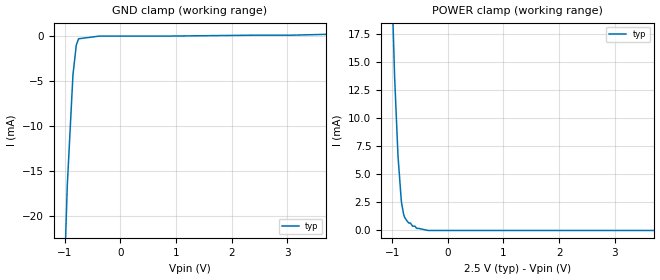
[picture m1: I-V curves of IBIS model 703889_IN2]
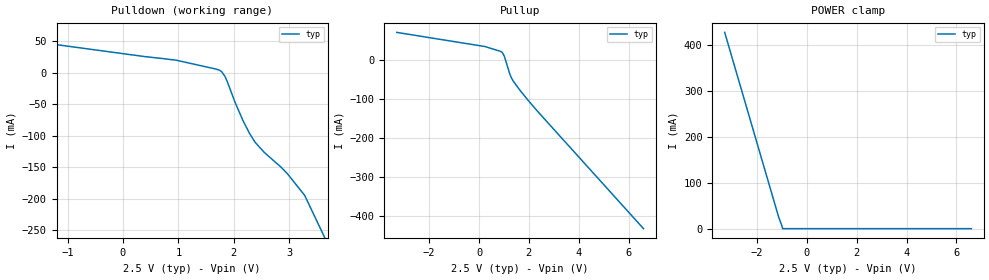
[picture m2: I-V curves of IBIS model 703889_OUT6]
| YOU ARE ONLY AUTHORIZED TO USE THIS SOFTWARE
| ACCORDING TO LICENSOR'S LICENSE RESTRICTIONS.
[IBIS Ver] 3.1
[File Name] mc100lvep11dt_25.ibs
[File Rev] 3
[Source] Derived from MC100LVEP16D_33v and data Measured and created
|   by ICX Technology
[Date] 2/25/2004
[Copyright]
| (C) COPYRIGHT 1993-2001
| MENTOR GRAPHICS CORPORATION
| ICX STANDARD LIBRARY, ICX PROJECT MODELING,
| ICX CUSTOM MODELING, ICX VENDOR MODEL
| ALL RIGHTS RESERVED.
| THE FOLLOWING ARE TRADEMARKS OR SERVICE MARKS OF
| MENTOR GRAPHICS CORPORATION:ICX (R), ICX STANDARD
| LIBRARY(R), ICX PROJECT MODELING(R), ICX CUSTOM
| MODELING(R), qualityIBIS(TM), MODELVIEWER(TM),
| AND MODELEDITOR(TM)
| ALL COPIES OF SOFTWARE, INCLUDING BUT NOT LIMITED TO
| ANY MODIFICATIONS, ENHANCEMENTS OR DERIVATIVE WORKS,
| MUST CONTAIN ALL MENTOR GRAPHICS CORPORATION'S
| NOTICES AND LEGENDS, INCLUDING THOSE EMBEDDED IN
| SOFTWARE AND THOSE AFFIXED TO SOFTWARE MEDIUM
| AND CONTAINER, AS RECEIVED FROM MENTOR GRAPHICS
| CORPORATION.
|  ZAP Model Builder 3.1
[Component] MC100LVEP11DT_25
[Manufacturer] On Semiconductor
[Package]
| variable   typ   min   max
R_pkg  .044ohms NA NA
L_pkg  1.82nH NA NA
C_pkg  .083pF NA NA
[Pin] signal_name  model_name  R_pin  L_pin C_pin
1 Q0 703889_OUT6 .044 1.802n .083p
2 _Q0 703889_OUT6 .044 1.802n .083p
3 Q1 703889_OUT6 .044 1.802n .083p
4 _Q1 703889_OUT6 .044 1.802n .083p
5 VEE GND   .044 1.802n .083p
6 D 703889_IN2 .044 1.802n .083p
7 _D 703889_IN2 .044 1.802n .083p
8 VCC POWER   .044 1.802n .083p
[Diff Pin] inv_pin vdiff tdelay_typ tdelay_min tdelay_max
1 2 150mV NA NA NA
3 4 150mV NA NA NA
7 6 NA NA NA NA
| Models and submodels in the file (2): 703889_IN2 (Input_ECL), 703889_OUT6 (Output_ECL)
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| (C) COPYRIGHT 1993-2001
| MENTOR GRAPHICS CORPORATION
| ICX STANDARD LIBRARY, ICX PROJECT MODELING,
| ICX CUSTOM MODELING, ICX VENDOR MODEL
| ALL RIGHTS RESERVED.
| THE FOLLOWING ARE TRADEMARKS OR SERVICE MARKS OF
| MENTOR GRAPHICS CORPORATION:ICX (R), ICX STANDARD
| LIBRARY(R), ICX PROJECT MODELING(R), ICX CUSTOM
| MODELING(R), qualityIBIS(TM), MODELVIEWER(TM),
| AND MODELEDITOR(TM)
| ALL COPIES OF SOFTWARE, INCLUDING BUT NOT LIMITED TO
| ANY MODIFICATIONS, ENHANCEMENTS OR DERIVATIVE WORKS,
| MUST CONTAIN ALL MENTOR GRAPHICS CORPORATION'S
| NOTICES AND LEGENDS, INCLUDING THOSE EMBEDDED IN
| SOFTWARE AND THOSE AFFIXED TO SOFTWARE MEDIUM
| AND CONTAINER, AS RECEIVED FROM MENTOR GRAPHICS
| CORPORATION.
| Model Application Version 1.89 2/18/99.
[Model] 703889_IN2
Model_type Input_ECL
Vinl = 0.875V
Vinh = 1.335V
C_comp 2.000pF NA NA
| variable typ   min   max
[Voltage Range] 2.500V NA NA
[GND Clamp Reference] 0.000V NA NA
[POWER Clamp Reference] 2.500V NA NA
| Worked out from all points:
|   GND clamp passes 1 mA (typ) near -0.79 V on its own axis
|   POWER clamp passes 1 mA (typ) near -0.75 V on its own axis
[GND Clamp]
-3.3V     -587.3mA   NA         NA
-1.095V   -44.3mA    NA         NA
-953mV    -16.6mA    NA         NA
-851mV    -4.3mA     NA         NA
-791mV    -1mA       NA         NA
-750mV    -300uA     NA         NA
-375mV    0A         NA         NA
871.5mV   0A         NA         NA
2.432V    100uA      NA         NA
3.09V     100uA      NA         NA
6.6V      633uA      NA         NA
[POWER Clamp]
-3.3V     495.5mA    NA         NA
-1.139V   44.3mA     NA         NA
-956mV    13.72mA    NA         NA
-895mV    6.632mA    NA         NA
-834mV    2.542mA    NA         NA
-794mV    1.448mA    NA         NA
-774mV    1.151mA    NA         NA
-702.5mV  666.1uA    NA         NA
-672mV    666.1uA    NA         NA
-560.5mV  187.7uA    NA         NA
-353.3mV  0A         NA         NA
6.6V      0A         NA         NA
| (C) COPYRIGHT 1993-2001
| MENTOR GRAPHICS CORPORATION
| ICX STANDARD LIBRARY, ICX PROJECT MODELING,
| ICX CUSTOM MODELING, ICX VENDOR MODEL
| ALL RIGHTS RESERVED.
| THE FOLLOWING ARE TRADEMARKS OR SERVICE MARKS OF
| MENTOR GRAPHICS CORPORATION:ICX (R), ICX STANDARD
| LIBRARY(R), ICX PROJECT MODELING(R), ICX CUSTOM
| MODELING(R), qualityIBIS(TM), MODELVIEWER(TM),
| AND MODELEDITOR(TM)
| ALL COPIES OF SOFTWARE, INCLUDING BUT NOT LIMITED TO
| ANY MODIFICATIONS, ENHANCEMENTS OR DERIVATIVE WORKS,
| MUST CONTAIN ALL MENTOR GRAPHICS CORPORATION'S
| NOTICES AND LEGENDS, INCLUDING THOSE EMBEDDED IN
| SOFTWARE AND THOSE AFFIXED TO SOFTWARE MEDIUM
| AND CONTAINER, AS RECEIVED FROM MENTOR GRAPHICS
| CORPORATION.
| Model Application Version 1.89 2/18/99.
[Model] 703889_OUT6
Model_type Output_ECL
Vref=1.300V
Rref=50.00ohms
Cref=0.000F
Vmeas=1.100V
C_comp 2.000pF NA NA
| variable typ   min   max
[Voltage Range] 2.500V NA NA
[POWER Clamp Reference] 2.500V NA NA
[Pullup Reference] 2.500V NA NA
[Pulldown Reference] 2.500V NA NA
[GND Clamp Reference] 0.000V NA NA
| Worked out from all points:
|   POWER clamp passes 1 mA (typ) near -0.98 V on its own axis
[GND Clamp]
-3.3V     0A         NA         NA
6.6V      0A         NA         NA
[Pulldown]
-3.3V     69.88mA    NA         NA
949mV     20.5mA     NA         NA
1.74V     4.4mA      NA         NA
1.841V    -5.4mA     NA         NA
2.023V    -46.5mA    NA         NA
2.165V    -75.3mA    NA         NA
2.287V    -96.3mA    NA         NA
2.388V    -110.3mA   NA         NA
2.55V     -126mA     NA         NA
2.976V    -160.7mA   NA         NA
3.28V     -194.3mA   NA         NA
6.6V      -808.5mA   NA         NA
[Pullup]
-3.3V     71.33mA    NA         NA
204mV     35.4mA     NA         NA
934mV     19.8mA     NA         NA
1.015V    10.1mA     NA         NA
1.238V    -36.3mA    NA         NA
1.298V    -45.5mA    NA         NA
1.643V    -77.6mA    NA         NA
2.332V    -130.6mA   NA         NA
6.6V      -433.8mA   NA         NA
[POWER Clamp]
-3.3V     427.6mA    NA         NA
-1.134V   25.06mA    NA         NA
-1.012V   7.312mA    NA         NA
-973.1mV  0A         NA         NA
6.6V      0A         NA         NA
[Ramp]
| variable typ min max
dV/dt_r 304.1m/88.32p NA NA
dV/dt_f 304.1m/91.71p NA NA
R_load = 50.00Ohms
